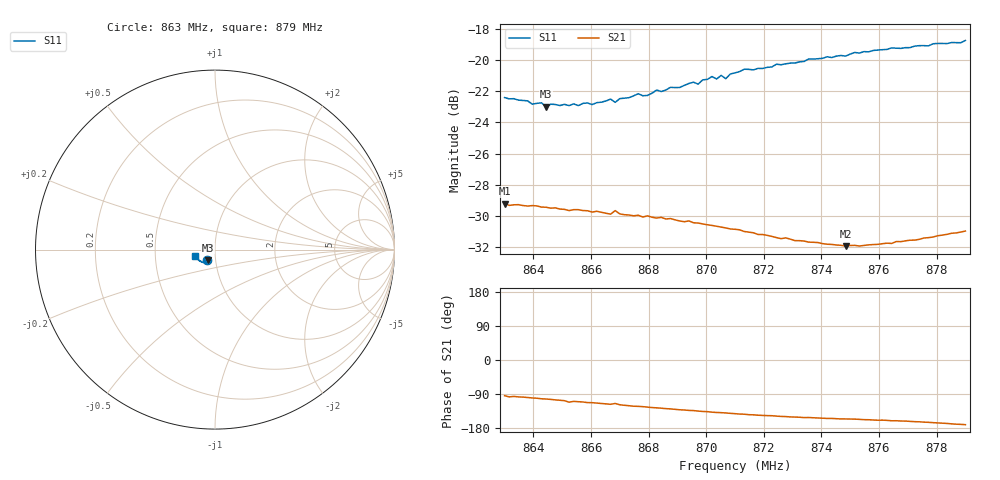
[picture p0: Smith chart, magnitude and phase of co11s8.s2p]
# HZ S RI R 50
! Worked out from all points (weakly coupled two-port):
!   101 points, 863 MHz to 879 MHz, reference 50 ohm
!   highest |S21| = -29.21 dB at 863 MHz (marker M1); lowest = -32.0 dB at 874.84 MHz (marker M2)
!   lowest |S11| = -23.0 dB at 864.44 MHz (marker M3), VSWR 1.15, Z = 45.8 - j5.32 ohm
!   |S11| at or under -10 dB: start of sweep to end of sweep
!   S12 and S22 are empty: the file has one direction only
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8.63e8  -0.0462 -0.0601  -0.0025 -0.0345  0 0  0 0
8.6396e8  -0.0424 -0.0584  -0.00599 -0.0336  0 0  0 0
8.6428e8  -0.0415 -0.06  -0.00721 -0.0329  0 0  0 0
8.6444e8  -0.041 -0.0578  -0.00757 -0.0328  0 0  0 0
8.6572e8  -0.0386 -0.0615  -0.0117 -0.0307  0 0  0 0
8.6604e8  -0.0384 -0.0609  -0.0125 -0.03  0 0  0 0
8.6668e8  -0.0391 -0.064  -0.0145 -0.0285  0 0  0 0
8.6684e8  -0.0346 -0.0645  -0.0138 -0.0298  0 0  0 0
8.6764e8  -0.0416 -0.066  -0.017 -0.0268  0 0  0 0
8.6796e8  -0.0394 -0.0662  -0.0178 -0.0261  0 0  0 0
8.6844e8  -0.0404 -0.0682  -0.0189 -0.0249  0 0  0 0
8.6956e8  -0.0461 -0.0714  -0.0207 -0.0218  0 0  0 0
8.6972e8  -0.0449 -0.0707  -0.0211 -0.0213  0 0  0 0
8.702e8  -0.0502 -0.073  -0.0218 -0.0198  0 0  0 0
8.7036e8  -0.0496 -0.0715  -0.0219 -0.0194  0 0  0 0
8.7052e8  -0.0515 -0.073  -0.0219 -0.0191  0 0  0 0
8.7068e8  -0.0505 -0.0711  -0.0221 -0.0187  0 0  0 0
8.71e8  -0.0549 -0.0726  -0.0224 -0.0178  0 0  0 0
8.7372e8  -0.0727 -0.0699  -0.023 -0.012  0 0  0 0
8.7484e8  -0.08 -0.0649  -0.023 -0.0105  0 0  0 0
8.7644e8  -0.0935 -0.0571  -0.0243 -0.00865  0 0  0 0
8.79e8  -0.1099 -0.0362  -0.0279 -0.00457  0 0  0 0
